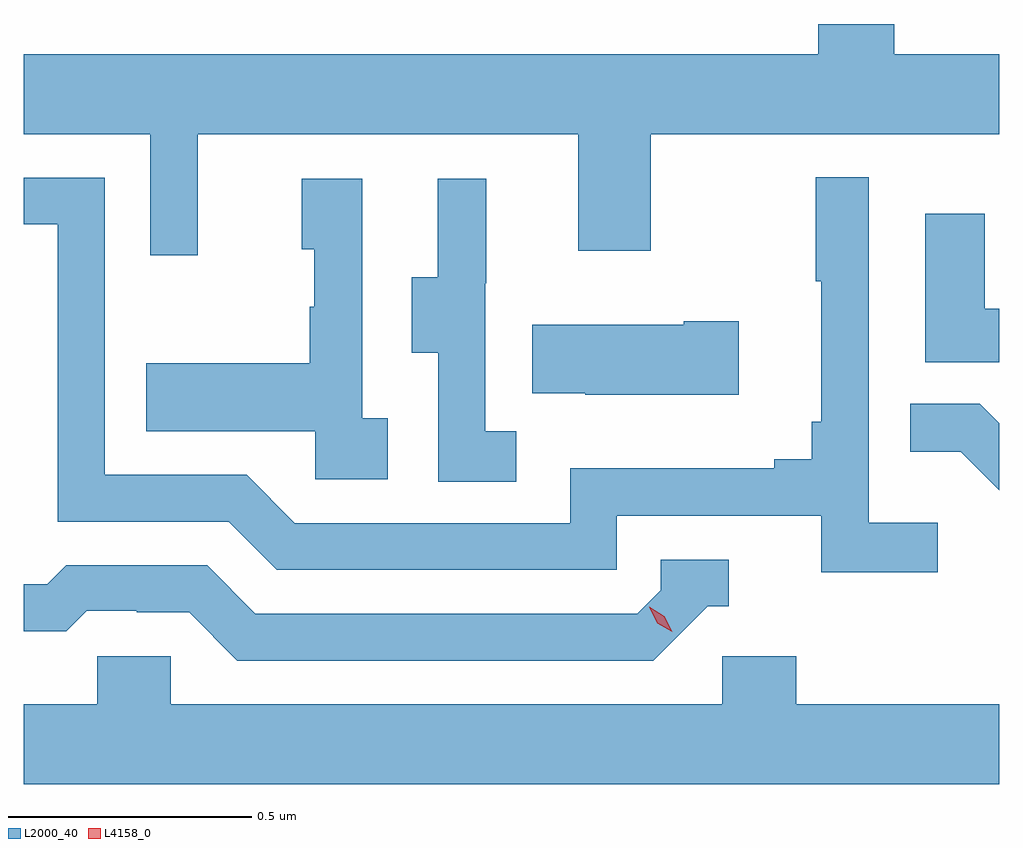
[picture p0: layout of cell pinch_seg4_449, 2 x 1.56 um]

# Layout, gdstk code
import gdstk
lib = gdstk.Library(unit=1e-6, precision=1e-09)
def P(c, l, *ps):  # polygons
    for p in ps: c.add(gdstk.Polygon(p, *l))
L2000_40 = (2000, 40)
L4158_0 = (4158, 0)

pinch_seg4_449 = lib.new_cell('pinch_seg4_449')
P(pinch_seg4_449, L2000_40, [(914.675,774.176),(915.455,774.176),(915.455,773.937),(915.603,773.937),(915.603,774.176),(916.318,774.176),(916.318,774.34),(916.103,774.34),(916.103,774.402),(915.947,774.402),(915.947,774.34),(914.318,774.34),(914.318,774.176),(914.577,774.176),(914.577,773.928),(914.675,773.928)],
  [(916.192,773.38),(916.05,773.38),(916.05,774.088),(915.942,774.088),(915.942,773.875),(915.953,773.875),(915.953,773.587),(915.934,773.587),(915.934,773.51),(915.857,773.51),(915.857,773.491),(915.438,773.491),(915.438,773.379),(914.874,773.379),(914.775,773.478),(914.484,773.478),(914.484,774.087),(914.318,774.087),(914.318,773.991),(914.388,773.991),(914.388,773.382),(914.738,773.382),(914.837,773.283),(915.534,773.283),(915.534,773.394),(915.953,773.394),(915.953,773.278),(916.192,773.278)],
  [(915.328,773.567),(915.264,773.567),(915.264,773.871),(915.266,773.871),(915.266,774.085),(915.167,774.085),(915.167,773.883),(915.113,773.883),(915.113,773.728),(915.168,773.728),(915.168,773.464),(915.328,773.464)],
  [(915.064,773.594),(915.012,773.594),(915.012,774.085),(914.888,774.085),(914.888,773.94),(914.914,773.94),(914.914,773.822),(914.904,773.822),(914.904,773.707),(914.569,773.707),(914.569,773.567),(914.916,773.567),(914.916,773.469),(915.064,773.469)],
  [(916.318,773.818),(916.288,773.818),(916.288,774.013),(916.166,774.013),(916.166,773.709),(916.318,773.709)],
  [(915.784,773.793),(915.671,773.793),(915.671,773.785),(915.361,773.785),(915.361,773.645),(915.469,773.645),(915.469,773.642),(915.784,773.642)],
  [(916.318,773.584),(916.278,773.624),(916.135,773.624),(916.135,773.525),(916.239,773.525),(916.318,773.446)],
  [(915.72,773.208),(915.763,773.208),(915.763,773.304),(915.624,773.304),(915.624,773.241),(915.576,773.193),(914.793,773.193),(914.694,773.292),(914.405,773.292),(914.366,773.253),(914.318,773.253),(914.318,773.157),(914.405,773.157),(914.447,773.199),(914.55,773.199),(914.55,773.196),(914.657,773.196),(914.756,773.097),(915.609,773.097)],
  [(914.469,773.106),(914.469,773.008),(914.318,773.008),(914.318,772.844),(916.318,772.844),(916.318,773.008),(915.902,773.008),(915.902,773.106),(915.75,773.106),(915.75,773.008),(914.619,773.008),(914.619,773.106)])
P(pinch_seg4_449, L4158_0, [(915.648,773.156),(915.617,773.174),(915.6,773.206),(915.6,773.207),(915.6,773.207),(915.631,773.188),(915.648,773.156),(915.648,773.156)])

lib.write_gds('pinch_seg4_449.gds')
